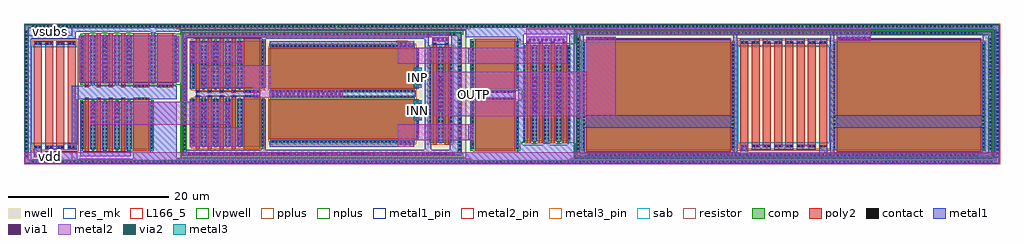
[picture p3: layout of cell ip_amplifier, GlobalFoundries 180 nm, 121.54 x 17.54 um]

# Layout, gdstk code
from math import pi, radians
import gdstk
lib = gdstk.Library(unit=1e-6, precision=1e-09)
def R(c, l, rs):  # rectangles x0, y0, x1, y1
    for r in rs: c.add(gdstk.rectangle(r[:2], r[2:], *l))
def A(c, l, x, y, w, h, nx, ny, dx, dy):  # array of equal rectangles
    R(c, l, [(x+i*dx, y+j*dy, x+i*dx+w, y+j*dy+h) for i in range(nx) for j in range(ny)])
nwell = (21, 0)
comp = (22, 0)
poly2 = (30, 0)
pplus = (31, 0)
nplus = (32, 0)
contact = (33, 0)
metal1 = (34, 0)
metal1_pin = (34, 10)
via1 = (35, 0)
metal2 = (36, 0)
metal2_pin = (36, 10)
via2 = (38, 0)
metal3 = (42, 0)
metal3_pin = (42, 10)
sab = (49, 0)
resistor = (62, 0)
res_mk = (110, 5)
L166_5 = (166, 5)
lvpwell = (204, 0)

ppolyf_u_1k_lafhkn = lib.new_cell('ppolyf_u_1k_LAFHKN')
R(ppolyf_u_1k_lafhkn, poly2, [(-0.5,-6.61,0.5,6.61)])
R(ppolyf_u_1k_lafhkn, pplus, [(-0.7,-6.81,0.7,-6), (-0.7,6,0.7,6.81)])
R(ppolyf_u_1k_lafhkn, contact, [(-0.345,-6.54,-0.125,-6.32), (0.125,-6.54,0.345,-6.32), (-0.345,6.32,-0.125,6.54), (0.125,6.32,0.345,6.54)])
R(ppolyf_u_1k_lafhkn, metal1, [(-0.49,-6.545,0.49,-6.315), (-0.49,6.315,0.49,6.545)])
R(ppolyf_u_1k_lafhkn, sab, [(-0.78,-6.1,0.78,6.1), (-0.78,-6,0.78,6)])
R(ppolyf_u_1k_lafhkn, resistor, [(-0.9,-7.01,0.9,7.01)])
R(ppolyf_u_1k_lafhkn, res_mk, [(-0.78,-6,0.78,6), (-0.5,-6,0.5,6)])

pmoscap_3p3_u5jgfu = lib.new_cell('pmoscap_3p3_U5JGFU')
R(pmoscap_3p3_u5jgfu, nwell, [(-9.87,-7.52,9.87,7.52)])
R(pmoscap_3p3_u5jgfu, comp, [(-9.44,-6.87,9.44,6.63)])
R(pmoscap_3p3_u5jgfu, poly2, [(-9,-7.09,9,7.09)])
R(pmoscap_3p3_u5jgfu, pplus, [(-9.23,-7.1,9.23,-7.03), (-9.6,-7.03,9.6,6.79), (-9.23,6.79,9.23,6.86)])
A(pmoscap_3p3_u5jgfu, contact, -9.37, -6.575, 0.22, 0.22, 1, 28, 0, 0.47)
A(pmoscap_3p3_u5jgfu, contact, 9.15, -6.575, 0.22, 0.22, 1, 28, 0, 0.47)
A(pmoscap_3p3_u5jgfu, contact, -8.805, 6.8, 0.22, 0.22, 38, 1, 0.47, 0)
R(pmoscap_3p3_u5jgfu, metal1, [(-9.375,-6.86,-9.145,-4.1), (9.145,-6.86,9.375,-4.1), (-9.375,-4.1,9.375,-2.5), (-9.375,-2.5,-9.145,6.62), (9.145,-2.5,9.375,6.62), (-8.99,6.795,8.99,7.025)])
R(pmoscap_3p3_u5jgfu, L166_5, [(-9,-6.87,9,6.63)])

pfet_03v3_rtlryf = lib.new_cell('pfet_03v3_RTLRYF')
R(pfet_03v3_rtlryf, nwell, [(-3.37,-9.77,3.37,9.77)])
R(pfet_03v3_rtlryf, comp, [(-2.94,-9.12,2.94,8.88)])
R(pfet_03v3_rtlryf, poly2, [(-2.5,-9.34,2.5,9.34)])
R(pfet_03v3_rtlryf, pplus, [(-2.73,-9.35,2.73,-9.28), (-3.1,-9.28,3.1,9.04), (-2.73,9.04,2.73,9.11)])
A(pfet_03v3_rtlryf, contact, -2.87, -8.925, 0.22, 0.22, 1, 38, 0, 0.47)
A(pfet_03v3_rtlryf, contact, 2.65, -8.925, 0.22, 0.22, 1, 38, 0, 0.47)
A(pfet_03v3_rtlryf, contact, -2.225, 9.05, 0.22, 0.22, 10, 1, 0.47, 0)
R(pfet_03v3_rtlryf, metal1, [(-2.875,-9.11,-2.645,8.87), (2.645,-9.11,2.875,8.87), (-2.49,9.045,2.49,9.275)])

pfet_03v3_qs4rdl = lib.new_cell('pfet_03v3_QS4RDL')
R(pfet_03v3_qs4rdl, nwell, [(-1.12,-6.77,1.12,6.77)])
R(pfet_03v3_qs4rdl, comp, [(-0.69,-6.12,0.69,5.88)])
R(pfet_03v3_qs4rdl, poly2, [(-0.25,-6.34,0.25,6.34)])
R(pfet_03v3_qs4rdl, pplus, [(-0.48,-6.35,0.48,-6.28), (-0.85,-6.28,0.85,6.04), (-0.48,6.04,0.48,6.11)])
A(pfet_03v3_qs4rdl, contact, -0.62, -5.87, 0.22, 0.22, 1, 25, 0, 0.47)
A(pfet_03v3_qs4rdl, contact, 0.4, -5.87, 0.22, 0.22, 1, 25, 0, 0.47)
R(pfet_03v3_qs4rdl, contact, [(-0.11,6.05,0.11,6.27)])
R(pfet_03v3_qs4rdl, metal1, [(-0.625,-6.11,-0.395,5.87), (0.395,-6.11,0.625,5.87), (-0.24,6.045,0.24,6.275)])

pfet_03v3_38xgka = lib.new_cell('pfet_03v3_38XGKA')
R(pfet_03v3_38xgka, nwell, [(-1.12,-3.77,1.12,3.77)])
R(pfet_03v3_38xgka, comp, [(-0.69,-3.12,0.69,2.88)])
R(pfet_03v3_38xgka, poly2, [(-0.25,-3.34,0.25,3.34)])
R(pfet_03v3_38xgka, pplus, [(-0.48,-3.35,0.48,-3.28), (-0.85,-3.28,0.85,3.04), (-0.48,3.04,0.48,3.11)])
A(pfet_03v3_38xgka, contact, -0.62, -3.05, 0.22, 0.22, 1, 13, 0, 0.47)
A(pfet_03v3_38xgka, contact, 0.4, -3.05, 0.22, 0.22, 1, 13, 0, 0.47)
R(pfet_03v3_38xgka, contact, [(-0.11,3.05,0.11,3.27)])
R(pfet_03v3_38xgka, metal1, [(-0.625,-3.11,-0.395,2.87), (0.395,-3.11,0.625,2.87), (-0.24,3.045,0.24,3.275)])

pfet_03v3_9awae3 = lib.new_cell('pfet_03v3_9AWAE3')
R(pfet_03v3_9awae3, nwell, [(-1.87,-3.77,1.87,3.77)])
R(pfet_03v3_9awae3, comp, [(-1.44,-3.12,1.44,2.88)])
R(pfet_03v3_9awae3, poly2, [(-1,-3.34,1,3.34)])
R(pfet_03v3_9awae3, pplus, [(-1.23,-3.35,1.23,-3.28), (-1.6,-3.28,1.6,3.04), (-1.23,3.04,1.23,3.11)])
A(pfet_03v3_9awae3, contact, -1.37, -3.05, 0.22, 0.22, 1, 13, 0, 0.47)
A(pfet_03v3_9awae3, contact, 1.15, -3.05, 0.22, 0.22, 1, 13, 0, 0.47)
A(pfet_03v3_9awae3, contact, -0.815, 3.05, 0.22, 0.22, 4, 1, 0.47, 0)
R(pfet_03v3_9awae3, metal1, [(-1.375,-3.11,-1.145,2.87), (1.145,-3.11,1.375,2.87), (-0.99,3.045,0.99,3.275)])

nfet_03v3_nn9s9p = lib.new_cell('nfet_03v3_NN9S9P')
R(nfet_03v3_nn9s9p, comp, [(-0.69,-3.12,0.69,2.88)])
R(nfet_03v3_nn9s9p, poly2, [(-0.25,-3.34,0.25,3.34)])
R(nfet_03v3_nn9s9p, nplus, [(-0.48,-3.35,0.48,-3.28), (-0.85,-3.28,0.85,3.04), (-0.48,3.04,0.48,3.11)])
A(nfet_03v3_nn9s9p, contact, -0.62, -3.05, 0.22, 0.22, 1, 13, 0, 0.47)
A(nfet_03v3_nn9s9p, contact, 0.4, -3.05, 0.22, 0.22, 1, 13, 0, 0.47)
R(nfet_03v3_nn9s9p, contact, [(-0.11,3.05,0.11,3.27)])
R(nfet_03v3_nn9s9p, metal1, [(-0.625,-3.11,-0.395,2.87), (0.395,-3.11,0.625,2.87), (-0.24,3.045,0.24,3.275)])
R(nfet_03v3_nn9s9p, lvpwell, [(-0.81,-3.46,0.81,3.46)])

nfet_03v3_kllmmw = lib.new_cell('nfet_03v3_KLLMMW')
R(nfet_03v3_kllmmw, comp, [(-2.94,-3.12,2.94,2.88)])
R(nfet_03v3_kllmmw, poly2, [(-2.5,-3.34,2.5,3.34)])
R(nfet_03v3_kllmmw, nplus, [(-2.73,-3.35,2.73,-3.28), (-3.1,-3.28,3.1,3.04), (-2.73,3.04,2.73,3.11)])
A(nfet_03v3_kllmmw, contact, -2.87, -3.05, 0.22, 0.22, 1, 13, 0, 0.47)
A(nfet_03v3_kllmmw, contact, 2.65, -3.05, 0.22, 0.22, 1, 13, 0, 0.47)
A(nfet_03v3_kllmmw, contact, -2.225, 3.05, 0.22, 0.22, 10, 1, 0.47, 0)
R(nfet_03v3_kllmmw, metal1, [(-2.875,-3.11,-2.645,2.87), (2.645,-3.11,2.875,2.87), (-2.49,3.045,2.49,3.275)])
R(nfet_03v3_kllmmw, lvpwell, [(-3.06,-3.46,3.06,3.46)])

nfet_03v3_hj7j7f = lib.new_cell('nfet_03v3_HJ7J7F')
R(nfet_03v3_hj7j7f, comp, [(-1.44,-3.12,1.44,2.88)])
R(nfet_03v3_hj7j7f, poly2, [(-1,-3.34,1,3.34)])
R(nfet_03v3_hj7j7f, nplus, [(-1.23,-3.35,1.23,-3.28), (-1.6,-3.28,1.6,3.04), (-1.23,3.04,1.23,3.11)])
A(nfet_03v3_hj7j7f, contact, -1.37, -3.05, 0.22, 0.22, 1, 13, 0, 0.47)
A(nfet_03v3_hj7j7f, contact, 1.15, -3.05, 0.22, 0.22, 1, 13, 0, 0.47)
A(nfet_03v3_hj7j7f, contact, -0.815, 3.05, 0.22, 0.22, 4, 1, 0.47, 0)
R(nfet_03v3_hj7j7f, metal1, [(-1.375,-3.11,-1.145,2.87), (1.145,-3.11,1.375,2.87), (-0.99,3.045,0.99,3.275)])
R(nfet_03v3_hj7j7f, lvpwell, [(-1.56,-3.46,1.56,3.46)])

nfet_03v3_75avkx = lib.new_cell('nfet_03v3_75AVKX')
R(nfet_03v3_75avkx, comp, [(-0.69,-6.12,0.69,5.88)])
R(nfet_03v3_75avkx, poly2, [(-0.25,-6.34,0.25,6.34)])
R(nfet_03v3_75avkx, nplus, [(-0.48,-6.35,0.48,-6.28), (-0.85,-6.28,0.85,6.04), (-0.48,6.04,0.48,6.11)])
A(nfet_03v3_75avkx, contact, -0.62, -5.87, 0.22, 0.22, 1, 25, 0, 0.47)
A(nfet_03v3_75avkx, contact, 0.4, -5.87, 0.22, 0.22, 1, 25, 0, 0.47)
R(nfet_03v3_75avkx, contact, [(-0.11,6.05,0.11,6.27)])
R(nfet_03v3_75avkx, metal1, [(-0.625,-6.11,-0.395,5.87), (0.395,-6.11,0.625,5.87), (-0.24,6.045,0.24,6.275)])
R(nfet_03v3_75avkx, lvpwell, [(-0.81,-6.46,0.81,6.46)])

ip_amplifier = lib.new_cell('ip_amplifier')
R(ip_amplifier, nwell, [(68.5,0.7,120.8,16.8), (19.5,0.8,55,16.7)])
A(ip_amplifier, comp, 8.4, 1.7, 0.3, 6.2, 4, 2, 1.5, 8.3)
A(ip_amplifier, comp, 22.2, 2.1, 0.3, 6.2, 3, 1, 1.5, 0)
A(ip_amplifier, comp, 63.4, 2.7, 0.3, 12.2, 3, 1, 1.5, 0)
A(ip_amplifier, comp, 22.2, 9.3, 0.3, 6.2, 4, 1, 1.5, 0)
R(ip_amplifier, comp, [(0,0,121.5,0.5), (0,0.5,0.5,17), (121,0.5,121.5,17), (68.7,0.9,120.6,1.4), (19.7,1,54.5,1.5), (68.7,1.4,69.2,16.1), (120.1,1.4,120.6,16.1), (19.7,1.5,20.2,16), (54,1.5,54.5,16), (26.7,2.1,27,2.3), (26.6,2.3,27,4.6), (51.7,2.6,52,14.7), (26.7,4.6,27,8.3), (15.9,10,16.2,16.2), (46.5,14.7,47.6,15.2), (19.7,16,54.5,16.5), (68.7,16.1,120.6,16.6), (0,17,121.5,17.5)])
A(ip_amplifier, pplus, 22.04, 1.94, 0.62, 6.52, 3, 1, 1.5, 0)
A(ip_amplifier, pplus, 22.04, 9.14, 0.62, 6.52, 4, 1, 1.5, 0)
R(ip_amplifier, pplus, [(-0.02,-0.02,121.52,0.52), (-0.02,0.52,0.52,16.98), (18.91,0.52,55.59,0.66), (67.91,0.52,121.52,0.66), (120.84,0.66,121.52,16.84), (100.2,1.9,100.57,2.71), (26.54,1.94,27.16,2.14), (26.44,2.14,27.16,4.76), (51.54,2.44,52.16,14.86), (26.54,4.76,27.16,8.46), (30.49,8.72,48.81,8.82), (46.34,14.54,47.76,15.36), (100.2,14.71,100.57,15.41), (18.91,16.84,55.59,16.98), (67.91,16.84,121.52,16.98), (-0.02,16.98,121.52,17.52)])
A(ip_amplifier, nplus, 8.24, 1.54, 0.62, 6.52, 4, 2, 1.5, 8.3)
A(ip_amplifier, nplus, 63.24, 2.54, 0.62, 12.52, 3, 1, 1.5, 0)
R(ip_amplifier, nplus, [(68.54,0.74,120.76,1.42), (19.54,0.84,54.66,1.39), (19.54,1.39,54.52,1.52), (68.54,1.42,69.22,2.68), (120.08,1.42,120.76,16.08), (19.54,1.52,20.22,9.92), (53.98,1.52,54.52,15.98), (61.76,2.68,61.96,8), (68.16,2.68,69.22,15), (61.76,9.22,61.96,15), (15.74,9.84,16.36,16.36), (19.16,9.92,20.22,15.98), (68.54,15,69.22,16.08), (19.16,15.98,54.52,16.11), (68.54,16.08,120.76,16.76), (19.16,16.11,54.66,16.24), (19.54,16.24,54.66,16.66)])
A(ip_amplifier, contact, 0.95, 0.14, 0.22, 0.22, 255, 2, 0.47, 17)
A(ip_amplifier, contact, 121.14, 0.785, 0.22, 0.22, 1, 34, 0, 0.47)
A(ip_amplifier, contact, 0.14, 0.885, 0.22, 0.22, 1, 34, 0, 0.47)
A(ip_amplifier, contact, 70.185, 1.04, 0.22, 0.22, 104, 1, 0.47, 0)
A(ip_amplifier, contact, 20.44, 1.14, 0.22, 0.22, 71, 1, 0.47, 0)
A(ip_amplifier, contact, 54.14, 1.725, 0.22, 0.22, 1, 30, 0, 0.47)
A(ip_amplifier, contact, 19.84, 1.825, 0.22, 0.22, 1, 30, 0, 0.47)
A(ip_amplifier, contact, 68.84, 1.825, 0.22, 0.22, 1, 30, 0, 0.47)
A(ip_amplifier, contact, 120.24, 1.825, 0.22, 0.22, 1, 30, 0, 0.47)
A(ip_amplifier, contact, 20.54, 16.14, 0.22, 0.22, 71, 1, 0.47, 0)
A(ip_amplifier, contact, 70.085, 16.24, 0.22, 0.22, 104, 1, 0.47, 0)
A(ip_amplifier, metal1, 90.6, 1.8, 2.4, 0.6, 3, 1, 2.8, 0)
A(ip_amplifier, metal1, 20.6, 2.2, 0.5, 5.9, 3, 1, 3, 0)
A(ip_amplifier, metal1, 22.1, 9.4, 0.5, 5.9, 4, 1, 1.5, 0)
A(ip_amplifier, metal1, 89.2, 15, 2.4, 0.6, 4, 1, 2.8, 0)
R(ip_amplifier, metal1, [(0.1,0.1,121.4,0.6), (0.1,0.6,0.9,15.6), (2.6,0.6,121.4,0.7), (2.6,0.7,6.6,1.6), (13.6,0.7,68.5,0.8), (120.8,0.7,121.4,16.8), (13.6,0.8,19,1.5), (55,0.8,68.5,1.5), (1.2,0.9,2.2,2.3), (7,1,13.3,1.6), (68.8,1,120.5,1.3), (19.8,1.1,54.4,1.8), (68.8,1.3,69.8,15.2), (88.3,1.3,88.8,16.2), (99,1.3,100,2.3), (100.4,1.3,100.9,16.2), (119.3,1.3,120.5,15.2), (15.7,1.5,19,7.8), (61.4,1.5,68.5,2.4), (7,1.6,7.3,7.8), (9.8,1.6,10.3,7.8), (12.8,1.6,13.3,7.8), (89.2,1.6,90.2,2.4), (19.8,1.8,20.1,15.7), (29.6,1.8,30.1,8.1), (49.9,1.8,50.7,14.6), (53,1.8,54.4,14.6), (2.6,1.9,5,2.3), (5.4,1.9,6.6,2.6), (8.3,1.9,8.8,7.8), (11.3,1.9,11.8,4.9), (55.6,1.9,56,3), (22.1,2.2,22.6,8.5), (25.1,2.2,25.6,4.9), (30.6,2.2,48.6,2.9), (61.4,2.4,62,2.8), (64.7,2.4,65.4,14.8), (67.7,2.4,68.5,14.8), (5.9,2.6,6.6,8.1), (51.6,2.7,52.1,14.6), (61.4,2.8,62.4,7.8), (63.3,2.8,63.8,14.8), (66.3,2.8,66.8,14.8), (55.3,3,56,5), (11.4,4.9,11.7,5), (25.1,4.9,25.5,5), (11.3,5,11.8,7.8), (25.1,5,25.6,8.5), (55.6,5,56,7.8), (49,5.5,49.5,5.6), (48.8,5.6,49.5,8), (55.6,7.8,55.9,8.1), (61.5,7.8,62.4,9.4), (56.3,8,56.6,8.1), (5.9,8.1,19,9.8), (55.6,8.1,61.2,9.1), (30.6,8.4,48.7,9.2), (21.4,8.5,29.4,9.1), (20.6,9.4,21.1,12.7), (61.4,9.4,62.4,14.8), (29.6,9.5,30.1,15.6), (48.8,9.5,49.5,11.9), (55.6,9.5,56,12.5), (8.3,9.8,8.8,16), (11.3,9.8,11.8,16), (15.8,10.1,16.3,16.5), (6.8,10.2,7.3,11.4), (9.8,10.2,10.3,16), (12.8,10.2,13.3,16), (18.7,10.2,19.3,16), (6.8,11.4,7.4,16), (48.9,11.9,49.5,12), (55.3,12.5,56,14.5), (20.6,12.7,21.2,15.2), (55.6,14.5,56,15.4), (30.6,14.6,48.6,15.3), (49.9,14.6,50.5,14.7), (53.2,14.6,54.4,16.1), (49.9,14.7,50.4,15.6), (61.4,14.8,62.3,14.9), (67.8,14.8,68.5,14.9), (1.2,14.9,3.6,15.3), (4,14.9,6.4,15.3), (50.8,14.9,52.9,15.8), (61.4,14.9,62.2,15.8), (67.9,14.9,68.5,16.2), (62.5,15.1,67.6,15.9), (20.6,15.2,21.1,15.3), (68.8,15.2,69.7,16.2), (119.4,15.2,120.5,16.2), (101.2,15.4,105.4,15.9), (70,15.5,73.7,15.9), (0.1,15.6,6.4,16.5), (29.6,15.6,50.4,15.7), (19.8,15.7,50.4,16.1), (55,15.8,62.2,16.2), (19.8,16.1,54.4,16.4), (55,16.2,68.5,16.7), (68.8,16.2,120.5,16.5), (0.1,16.5,19.3,16.7), (0.1,16.7,68.5,16.8), (0.1,16.8,121.4,17.4)])
R(ip_amplifier, metal1_pin, [(0.5,16,6,17)])
A(ip_amplifier, via1, 20.49, 1.12, 0.26, 0.26, 64, 1, 0.52, 0)
A(ip_amplifier, via1, 46.85, 2.42, 0.26, 0.26, 3, 2, 0.52, 12.4)
A(ip_amplifier, via1, 20.77, 2.49, 0.26, 0.26, 1, 4, 0, 0.52)
A(ip_amplifier, via1, 23.77, 2.49, 0.26, 0.26, 1, 4, 0, 0.52)
A(ip_amplifier, via1, 26.67, 2.49, 0.26, 0.26, 1, 4, 0, 0.52)
A(ip_amplifier, via1, 55.52, 3.35, 0.26, 0.26, 1, 3, 0, 0.52)
A(ip_amplifier, via1, 8.42, 5.18, 0.26, 0.26, 1, 5, 0, 0.52)
A(ip_amplifier, via1, 11.42, 5.18, 0.26, 0.26, 1, 5, 0, 0.52)
A(ip_amplifier, via1, 22.22, 5.18, 0.26, 0.26, 1, 5, 0, 0.52)
A(ip_amplifier, via1, 25.22, 5.18, 0.26, 0.26, 1, 5, 0, 0.52)
A(ip_amplifier, via1, 49.02, 5.84, 0.26, 0.26, 1, 4, 0, 0.52)
A(ip_amplifier, via1, 51.72, 6.54, 0.26, 0.26, 1, 9, 0, 0.52)
A(ip_amplifier, via1, 63.42, 6.54, 0.26, 0.26, 1, 9, 0, 0.52)
A(ip_amplifier, via1, 66.42, 6.54, 0.26, 0.26, 1, 9, 0, 0.52)
A(ip_amplifier, via1, 30.86, 8.62, 0.26, 0.26, 17, 1, 0.52, 0)
A(ip_amplifier, via1, 22.22, 9.73, 0.26, 0.26, 1, 5, 0, 0.52)
A(ip_amplifier, via1, 25.22, 9.73, 0.26, 0.26, 1, 5, 0, 0.52)
A(ip_amplifier, via1, 49.02, 9.84, 0.26, 0.26, 1, 4, 0, 0.52)
A(ip_amplifier, via1, 6.97, 10.37, 0.26, 0.26, 1, 11, 0, 0.52)
A(ip_amplifier, via1, 9.87, 10.37, 0.26, 0.26, 1, 11, 0, 0.52)
A(ip_amplifier, via1, 12.87, 10.37, 0.26, 0.26, 1, 11, 0, 0.52)
A(ip_amplifier, via1, 18.87, 10.37, 0.26, 0.26, 1, 11, 0, 0.52)
A(ip_amplifier, via1, 20.82, 12.73, 0.26, 0.26, 1, 5, 0, 0.52)
A(ip_amplifier, via1, 23.72, 12.73, 0.26, 0.26, 1, 5, 0, 0.52)
A(ip_amplifier, via1, 26.72, 12.73, 0.26, 0.26, 1, 5, 0, 0.52)
A(ip_amplifier, via1, 55.52, 12.85, 0.26, 0.26, 1, 3, 0, 0.52)
A(ip_amplifier, via1, 62.84, 15.37, 0.26, 0.26, 9, 1, 0.52, 0)
A(ip_amplifier, via1, 50.94, 15.42, 0.26, 0.26, 4, 1, 0.52, 0)
A(ip_amplifier, via1, 70.16, 15.52, 0.26, 0.26, 7, 1, 0.52, 0)
A(ip_amplifier, via1, 101.4, 15.52, 0.26, 0.26, 8, 1, 0.52, 0)
R(ip_amplifier, via1, [(1.31,1.07,1.57,1.33), (1.83,1.07,2.09,1.33), (89.31,1.82,89.57,2.08), (89.83,1.82,90.09,2.08)])
R(ip_amplifier, metal2, [(0,0,121.5,1.5), (89.2,1.5,90.2,2.4), (20.6,2.2,27.1,4.6), (46.5,2.2,48.5,3), (46.5,3,56,5), (8.2,4.9,25.7,7.8), (48.5,5.5,49.5,8), (51,6,73.7,11.5), (19.6,7.8,20.3,15.8), (28.6,8.3,39.7,9.3), (28.6,9.3,30.7,9.5), (22,9.5,30.7,12.3), (48.5,9.5,49.5,12), (6.8,10.2,19.3,16), (70,11.5,73.7,15.9), (46.5,12.5,67.6,14.5), (20.6,12.6,27.2,15.2), (46.5,14.5,48.5,15.3), (62.5,14.5,67.6,16.2), (50.8,15.3,52.9,15.8), (101.2,15.4,105.4,16.2), (19.6,15.8,52.9,16.4), (62.5,16.2,105.4,16.9)])
R(ip_amplifier, metal2_pin, [(0.5,0.5,6,1.5), (51,6,61,11.5)])
A(ip_amplifier, via2, 48.61, 5.84, 0.26, 0.26, 1, 4, 0, 0.52)
A(ip_amplifier, via2, 49.13, 5.84, 0.26, 0.26, 1, 4, 0, 0.52)
A(ip_amplifier, via2, 48.61, 9.84, 0.26, 0.26, 1, 4, 0, 0.52)
A(ip_amplifier, via2, 49.13, 9.84, 0.26, 0.26, 1, 4, 0, 0.52)
R(ip_amplifier, metal3, [(48.5,5.5,49.5,8), (48.5,9.5,49.5,12)])
R(ip_amplifier, metal3_pin, [(48.5,5.5,49.5,8), (48.5,9.5,49.5,12)])
A(ip_amplifier, lvpwell, 8.3, 11.4, 0.5, 4.6, 4, 1, 1.5, 0)
A(ip_amplifier, lvpwell, 9.9, 16, 0.3, 0.2, 3, 1, 1.5, 0)
R(ip_amplifier, lvpwell, [(55,0,70,0.5), (15.6,0.1,16.7,0.4), (15.6,0.4,16.8,0.5), (0.5,0.5,19.5,9.8), (55,0.5,68.5,14.8), (0.5,9.8,18.3,11.4), (18.56,9.8,19.5,16.42), (0.5,11.4,7.4,16.42), (15.8,11.4,16.3,16.42), (55,14.8,63.3,14.9), (63.8,14.8,68.5,14.9), (55,14.9,68.5,17), (0.5,16.42,19.5,17), (15.7,17,16.2,17.4), (55,17,70,17.5)])
ip_amplifier.add(gdstk.Reference(ppolyf_u_1k_lafhkn, (99.5,8.71)))
ip_amplifier.add(gdstk.Reference(ppolyf_u_1k_lafhkn, (98.1,8.71)))
ip_amplifier.add(gdstk.Reference(ppolyf_u_1k_lafhkn, (96.7,8.71)))
ip_amplifier.add(gdstk.Reference(ppolyf_u_1k_lafhkn, (95.3,8.71)))
ip_amplifier.add(gdstk.Reference(ppolyf_u_1k_lafhkn, (93.9,8.71)))
ip_amplifier.add(gdstk.Reference(ppolyf_u_1k_lafhkn, (92.5,8.71)))
ip_amplifier.add(gdstk.Reference(ppolyf_u_1k_lafhkn, (91.1,8.71)))
ip_amplifier.add(gdstk.Reference(ppolyf_u_1k_lafhkn, (89.7,8.71)))
ip_amplifier.add(gdstk.Reference(ppolyf_u_1k_lafhkn, (5.9,8.61)))
ip_amplifier.add(gdstk.Reference(ppolyf_u_1k_lafhkn, (4.5,8.61)))
ip_amplifier.add(gdstk.Reference(ppolyf_u_1k_lafhkn, (3.1,8.61)))
ip_amplifier.add(gdstk.Reference(ppolyf_u_1k_lafhkn, (1.7,8.61)))
ip_amplifier.add(gdstk.Reference(pmoscap_3p3_u5jgfu, (110.17,8.62)))
ip_amplifier.add(gdstk.Reference(pmoscap_3p3_u5jgfu, (78.97,8.62)))
ip_amplifier.add(gdstk.Reference(pfet_03v3_rtlryf, (39.77,5.62), rotation=3*pi/2))
ip_amplifier.add(gdstk.Reference(pfet_03v3_rtlryf, (39.77,11.92), rotation=3*pi/2))
ip_amplifier.add(gdstk.Reference(pfet_03v3_qs4rdl, (52.62,8.77)))
ip_amplifier.add(gdstk.Reference(pfet_03v3_qs4rdl, (51.12,8.77)))
ip_amplifier.add(gdstk.Reference(pfet_03v3_38xgka, (26.12,5.27)))
ip_amplifier.add(gdstk.Reference(pfet_03v3_38xgka, (24.62,5.27)))
ip_amplifier.add(gdstk.Reference(pfet_03v3_38xgka, (23.12,5.27)))
ip_amplifier.add(gdstk.Reference(pfet_03v3_38xgka, (26.12,12.27), rotation=pi))
ip_amplifier.add(gdstk.Reference(pfet_03v3_38xgka, (24.62,12.27), rotation=pi))
ip_amplifier.add(gdstk.Reference(pfet_03v3_38xgka, (23.12,12.27), rotation=pi))
ip_amplifier.add(gdstk.Reference(pfet_03v3_38xgka, (21.62,12.27), rotation=pi))
ip_amplifier.add(gdstk.Reference(pfet_03v3_38xgka, (21.62,5.27)))
ip_amplifier.add(gdstk.Reference(pfet_03v3_9awae3, (28.37,5.27)))
ip_amplifier.add(gdstk.Reference(pfet_03v3_9awae3, (28.37,12.27), rotation=pi))
ip_amplifier.add(gdstk.Reference(nfet_03v3_nn9s9p, (12.31,12.96), rotation=pi))
ip_amplifier.add(gdstk.Reference(nfet_03v3_nn9s9p, (10.81,12.96), rotation=pi))
ip_amplifier.add(gdstk.Reference(nfet_03v3_nn9s9p, (9.31,12.96), rotation=pi))
ip_amplifier.add(gdstk.Reference(nfet_03v3_nn9s9p, (7.81,12.96), rotation=pi))
ip_amplifier.add(gdstk.Reference(nfet_03v3_nn9s9p, (12.31,4.96)))
ip_amplifier.add(gdstk.Reference(nfet_03v3_nn9s9p, (10.81,4.96)))
ip_amplifier.add(gdstk.Reference(nfet_03v3_nn9s9p, (9.31,4.96)))
ip_amplifier.add(gdstk.Reference(nfet_03v3_nn9s9p, (7.81,4.96)))
ip_amplifier.add(gdstk.Reference(nfet_03v3_kllmmw, (58.66,12.26), rotation=pi))
ip_amplifier.add(gdstk.Reference(nfet_03v3_kllmmw, (58.66,4.96)))
ip_amplifier.add(gdstk.Reference(nfet_03v3_hj7j7f, (14.56,4.96)))
ip_amplifier.add(gdstk.Reference(nfet_03v3_hj7j7f, (17.56,12.96), rotation=pi))
ip_amplifier.add(gdstk.Reference(nfet_03v3_hj7j7f, (14.56,12.96), rotation=pi))
ip_amplifier.add(gdstk.Reference(nfet_03v3_75avkx, (67.31,8.96)))
ip_amplifier.add(gdstk.Reference(nfet_03v3_75avkx, (65.81,8.96)))
ip_amplifier.add(gdstk.Reference(nfet_03v3_75avkx, (64.31,8.96)))
ip_amplifier.add(gdstk.Reference(nfet_03v3_75avkx, (62.81,8.96)))
ip_amplifier.add(gdstk.Label('vsubs', (3.25,16.5), layer=34, texttype=10))
ip_amplifier.add(gdstk.Label('vdd', (3.25,1), layer=36, texttype=10))
ip_amplifier.add(gdstk.Label('INP', (49,10.75), layer=42, texttype=10))
ip_amplifier.add(gdstk.Label('INN', (49,6.75), layer=42, texttype=10))
ip_amplifier.add(gdstk.Label('OUTP', (56,8.75), layer=36, texttype=10))

lib.write_gds('ip_amplifier.gds')
